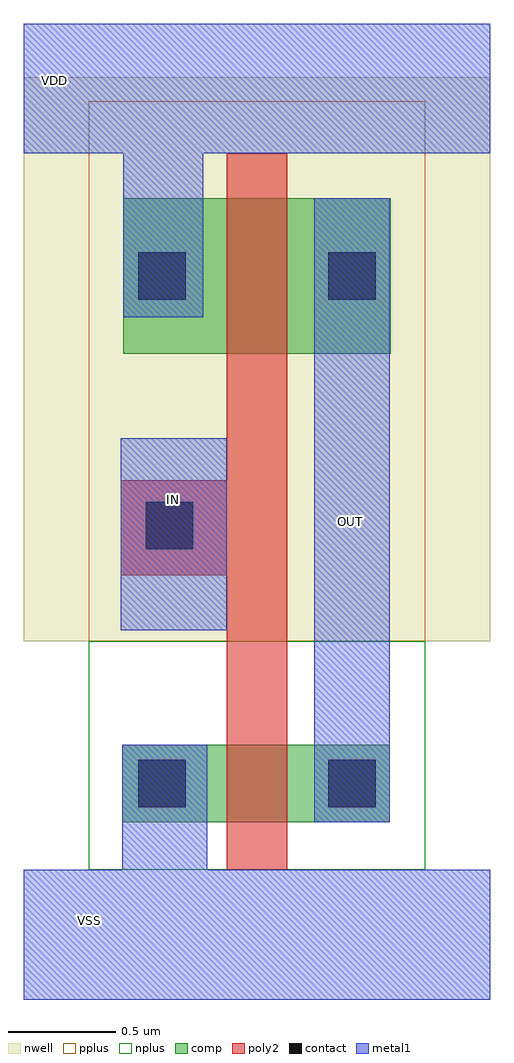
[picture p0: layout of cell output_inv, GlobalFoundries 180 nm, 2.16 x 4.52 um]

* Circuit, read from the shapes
.subckt output_inv IN OUT VDD VSS
XM1 OUT IN VSS VSUBS nfet_03v3 w=0.36u l=0.28u
XM2 OUT IN VDD n1 pfet_03v3 w=0.72u l=0.28u
.ends

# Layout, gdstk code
import gdstk
lib = gdstk.Library(unit=1e-6, precision=5e-09)
def R(c, l, rs):  # rectangles x0, y0, x1, y1
    for r in rs: c.add(gdstk.rectangle(r[:2], r[2:], *l))
nwell = (21, 0)
comp = (22, 0)
poly2 = (30, 0)
pplus = (31, 0)
nplus = (32, 0)
contact = (33, 0)
metal1 = (34, 0)

output_inv = lib.new_cell('output_inv')
R(output_inv, nwell, [(-1.12,-2.06,1.04,0.55)])
R(output_inv, comp, [(-0.665,-2.9,0.575,-2.54), (-0.66,-0.73,0.58,-0.01)])
R(output_inv, poly2, [(-0.18,-3.12,0.1,0.2), (-0.67,-1.755,-0.18,-1.315)])
R(output_inv, pplus, [(-0.82,-2.06,0.74,0.44)])
R(output_inv, nplus, [(-0.82,-3.12,0.74,-2.06)])
R(output_inv, contact, [(-0.59,-2.83,-0.37,-2.61), (0.29,-2.83,0.51,-2.61), (-0.555,-1.635,-0.335,-1.415), (-0.59,-0.48,-0.37,-0.26), (0.29,-0.48,0.51,-0.26)])
R(output_inv, metal1, [(-1.12,-3.72,1.04,-3.12), (-0.665,-3.72,-0.27,-2.54), (0.225,-2.9,0.575,-0.01), (-0.67,-2.01,-0.18,-1.12), (-0.66,-0.56,-0.29,0.8), (-1.12,0.2,1.04,0.8)])
output_inv.add(gdstk.Label('OUT', (0.395,-1.505), layer=34, texttype=10))
output_inv.add(gdstk.Label('IN', (-0.425,-1.405), layer=34, texttype=10))
output_inv.add(gdstk.Label('VDD', (-0.98,0.535), layer=34, texttype=10))
output_inv.add(gdstk.Label('VSS', (-0.815,-3.355), layer=34, texttype=10))

lib.write_gds('output_inv.gds')
